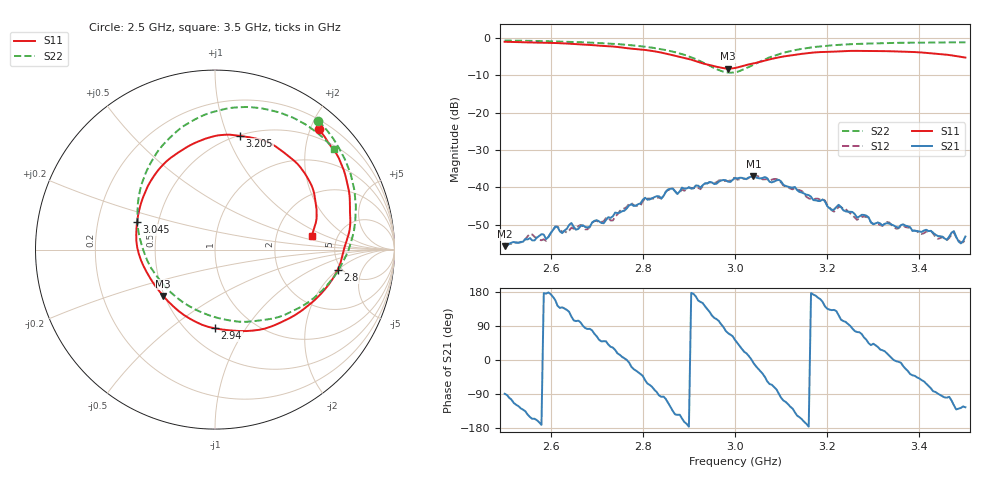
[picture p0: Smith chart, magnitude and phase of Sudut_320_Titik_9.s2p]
# Hz S RI R 50
! CMT, C1220, 16058040, 17.2.0/1
! Date: 15/08/2018 09:50:45
! Data: Format (Calibration Info)
! Freq  S11: Re/Im (F2)  S21: Re/Im (F2)  S12: Re/Im (F2)  S22: Re/Im (F2)
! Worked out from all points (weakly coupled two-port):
!   201 points, 2.5 GHz to 3.5 GHz, reference 50 ohm
!   highest |S21| = -36.97 dB at 3.04 GHz (marker M1); lowest = -55.7 dB at 2.5 GHz (marker M2)
!   lowest |S11| = -8.2 dB at 2.985 GHz (marker M3), VSWR 2.26, Z = 24.6 - j15 ohm
!   |S11| at or under -10 dB: nowhere
!   |S22| runs from -9.3 to -0.7 dB; largest |S21 - S12| = 0.0012
!   S11 on the Smith chart (normalised r, x): 2.5 GHz: 0.35, +2.13; 2.8 GHz: 4.61, -1.99; 2.94 GHz: 0.68, -0.74; 3.045 GHz: 0.38, +0.15; 3.205 GHz: 0.51, +1.11; 3.5 GHz: 3.22, +0.68
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2.5e9  0.5767 0.6693  2.95e-05 -0.00164  4.57e-05 -0.00178  0.5754 0.7179
2.555e9  0.641 0.582  -0.00183 -0.00104  -0.00201 -0.0013  0.6363 0.649
2.59e9  0.686 0.5172  -0.00204 0.000171  -0.00194 5.14e-05  0.6726 0.5965
2.61e9  0.7033 0.4782  -0.00279 0.00115  -0.00276 0.00109  0.6929 0.562
2.625e9  0.7174 0.4428  -0.00185 0.00161  -0.00183 0.00179  0.7069 0.5357
2.67e9  0.7461 0.3275  -5.88e-06 0.00313  0.00022 0.00306  0.7473 0.4447
2.715e9  0.7528 0.1938  0.00216 0.00253  0.00225 0.00271  0.776 0.334
2.8e9  0.6833 -0.1123  0.00507 -0.00461  0.00498 -0.00424  0.7627 0.0586
2.835e9  0.596 -0.24  -0.000453 -0.00761  -0.000164 -0.0073  0.7065 -0.0795
2.94e9  -0.000331 -0.4387  -0.0079 0.00813  -0.00808 0.00802  0.1739 -0.4024
2.985e9  -0.2883 -0.2586  0.00392 0.0113  0.00355 0.0116  -0.1778 -0.2941
3e9  -0.3605 -0.1603  0.00808 0.0107  0.00871 0.0103  -0.2778 -0.2052
3.04e9  -0.4374 0.1191  0.014 -0.00185  0.0144 -0.00133  -0.4263 0.0975
3.045e9  -0.4343 0.1541  0.0131 -0.00373  0.0139 -0.00373  -0.4317 0.1386
3.105e9  -0.2693 0.4927  -0.00314 -0.0104  -0.00333 -0.01  -0.3257 0.5375
3.17e9  0.00752 0.6347  -0.00671 0.000879  -0.00681 0.000356  -0.0712 0.7452
3.205e9  0.1394 0.6335  -0.0036 0.00387  -0.00348 0.00417  0.0604 0.7846
3.335e9  0.4764 0.4577  0.00323 0.000639  0.00336 0.00052  0.4177 0.7418
3.46e9  0.566 0.176  -0.000324 -0.00198  -0.000344 -0.00195  0.6184 0.6078
3.475e9  0.5581 0.1377  -0.00128 -0.00227  -0.00117 -0.00222  0.6367 0.5893
3.49e9  0.5467 0.0993  -0.00107 -0.00144  -0.00118 -0.00142  0.6538 0.5707
3.5e9  0.5382 0.0749  -0.00126 -0.00182  -0.00127 -0.0016  0.6651 0.5579
